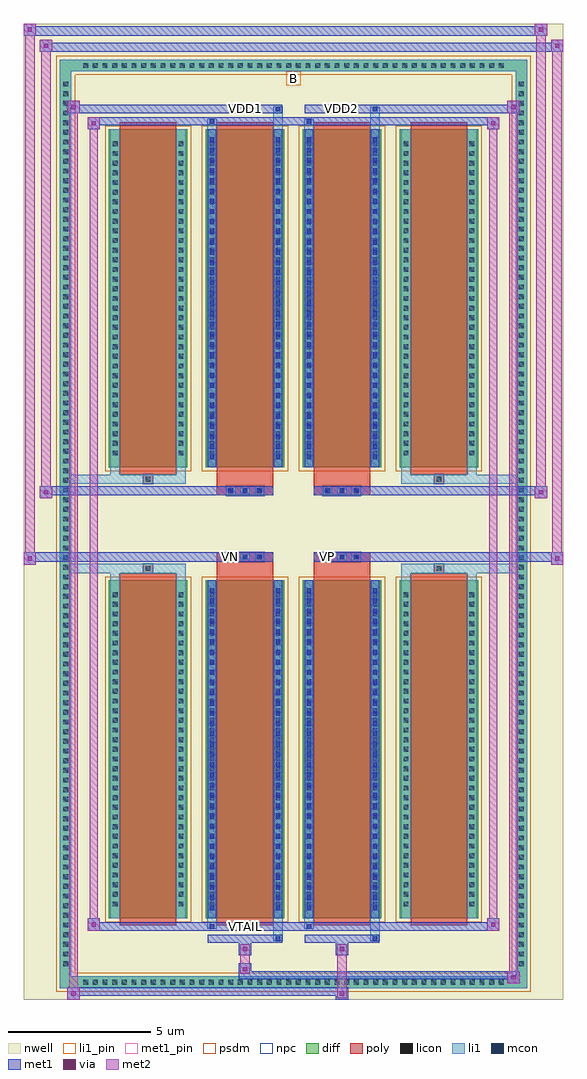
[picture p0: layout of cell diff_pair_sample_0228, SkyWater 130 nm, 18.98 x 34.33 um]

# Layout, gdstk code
import gdstk
lib = gdstk.Library(unit=1e-6, precision=5e-09)
def R(c, l, rs):  # rectangles x0, y0, x1, y1
    for r in rs: c.add(gdstk.rectangle(r[:2], r[2:], *l))
def A(c, l, x, y, w, h, nx, ny, dx, dy):  # array of equal rectangles
    R(c, l, [(x+i*dx, y+j*dy, x+i*dx+w, y+j*dy+h) for i in range(nx) for j in range(ny)])
def P(c, l, *ps):  # polygons
    for p in ps: c.add(gdstk.Polygon(p, *l))
nwell = (64, 20)
diff = (65, 20)
poly = (66, 20)
licon = (66, 44)
li1_pin = (67, 16)
li1 = (67, 20)
mcon = (67, 44)
met1_pin = (68, 16)
met1 = (68, 20)
via = (68, 44)
met2 = (69, 20)
psdm = (94, 20)
npc = (95, 20)

diff_pair_sample_0228 = lib.new_cell('diff_pair_sample_0228')
R(diff_pair_sample_0228, nwell, [(-9.49,-16.73,9.49,17.6), (-6.81,-14.92,-0.01,-0.8), (0.01,-14.92,6.81,-0.8), (-6.81,0.8,-0.01,14.92), (0.01,0.8,6.81,14.92)])
A(diff_pair_sample_0228, diff, -7.515, -16.33, 0.41, 0.41, 44, 2, 0.34, 32.25)
A(diff_pair_sample_0228, diff, -8.22, -15.675, 0.41, 0.41, 1, 92, 0, 0.34)
A(diff_pair_sample_0228, diff, 7.81, -15.675, 0.41, 0.41, 1, 92, 0, 0.34)
A(diff_pair_sample_0228, diff, -6.5, -13.875, 2.77, 11.89, 4, 2, 3.41, 15.86)
R(diff_pair_sample_0228, diff, [(-7.515,-16.33,7.515,-15.92), (-8.22,-15.675,-7.81,15.675), (7.81,-15.675,8.22,15.675), (-7.515,15.92,7.515,16.33)])
P(diff_pair_sample_0228, diff, [(8.22,16.33),(-8.22,16.33),(-8.22,-15.92),(-7.81,-15.92),(-7.81,15.92),(7.81,15.92),(7.81,-15.92),(-7.81,-15.92),(-8.22,-15.92),(-8.22,-16.33),(8.22,-16.33)])
A(diff_pair_sample_0228, poly, -6.11, -14.125, 1.99, 12.39, 4, 2, 3.41, 15.86)
A(diff_pair_sample_0228, poly, -2.37, -1.33, 0.33, 0.33, 3, 2, 0.5, 2.33)
A(diff_pair_sample_0228, poly, 1.04, -1.33, 0.33, 0.33, 3, 2, 0.5, 2.33)
R(diff_pair_sample_0228, poly, [(-5.28,-1.735,-4.95,-1.405), (-5.28,-1.735,-4.95,-1.405), (-2.7,-1.735,-0.71,-1.33), (0.71,-1.735,2.7,-1.33), (4.95,-1.735,5.28,-1.405), (4.95,-1.735,5.28,-1.405), (-2.7,-1.33,-0.71,-1), (0.71,-1.33,2.7,-1), (-2.7,1,-0.71,1.33), (0.71,1,2.7,1.33), (-2.7,1.33,-0.71,1.735), (0.71,1.33,2.7,1.735), (-5.28,1.405,-4.95,1.735), (-5.28,1.405,-4.95,1.735), (4.95,1.405,5.28,1.735), (4.95,1.405,5.28,1.735)])
A(diff_pair_sample_0228, licon, -7.395, -16.21, 0.17, 0.17, 44, 2, 0.34, 32.25)
A(diff_pair_sample_0228, licon, -8.1, -15.555, 0.17, 0.17, 1, 92, 0, 0.34)
A(diff_pair_sample_0228, licon, 7.93, -15.555, 0.17, 0.17, 1, 92, 0, 0.34)
A(diff_pair_sample_0228, licon, -6.36, -13.455, 0.17, 0.17, 1, 33, 0, 0.34)
A(diff_pair_sample_0228, licon, -4.04, -13.455, 0.17, 0.17, 1, 33, 0, 0.34)
A(diff_pair_sample_0228, licon, -2.95, -13.455, 0.17, 0.17, 1, 33, 0, 0.34)
A(diff_pair_sample_0228, licon, -0.63, -13.455, 0.17, 0.17, 1, 33, 0, 0.34)
A(diff_pair_sample_0228, licon, 0.46, -13.455, 0.17, 0.17, 1, 33, 0, 0.34)
A(diff_pair_sample_0228, licon, 2.78, -13.455, 0.17, 0.17, 1, 33, 0, 0.34)
A(diff_pair_sample_0228, licon, 3.87, -13.455, 0.17, 0.17, 1, 33, 0, 0.34)
A(diff_pair_sample_0228, licon, 6.19, -13.455, 0.17, 0.17, 1, 33, 0, 0.34)
A(diff_pair_sample_0228, licon, -2.29, -1.25, 0.17, 0.17, 3, 2, 0.5, 2.33)
A(diff_pair_sample_0228, licon, 1.12, -1.25, 0.17, 0.17, 3, 2, 0.5, 2.33)
A(diff_pair_sample_0228, licon, -6.36, 2.405, 0.17, 0.17, 1, 33, 0, 0.34)
A(diff_pair_sample_0228, licon, -4.04, 2.405, 0.17, 0.17, 1, 33, 0, 0.34)
A(diff_pair_sample_0228, licon, -2.95, 2.405, 0.17, 0.17, 1, 33, 0, 0.34)
A(diff_pair_sample_0228, licon, -0.63, 2.405, 0.17, 0.17, 1, 33, 0, 0.34)
A(diff_pair_sample_0228, licon, 0.46, 2.405, 0.17, 0.17, 1, 33, 0, 0.34)
A(diff_pair_sample_0228, licon, 2.78, 2.405, 0.17, 0.17, 1, 33, 0, 0.34)
A(diff_pair_sample_0228, licon, 3.87, 2.405, 0.17, 0.17, 1, 33, 0, 0.34)
A(diff_pair_sample_0228, licon, 6.19, 2.405, 0.17, 0.17, 1, 33, 0, 0.34)
R(diff_pair_sample_0228, licon, [(-5.2,-1.655,-5.03,-1.485), (5.03,-1.655,5.2,-1.485), (-5.2,1.485,-5.03,1.655), (5.03,1.485,5.2,1.655)])
R(diff_pair_sample_0228, li1_pin, [(-0.25,15.42,0.25,15.92)])
A(diff_pair_sample_0228, li1, -7.475, -16.29, 0.33, 0.33, 44, 2, 0.34, 32.25)
A(diff_pair_sample_0228, li1, -8.18, -15.635, 0.33, 0.33, 1, 92, 0, 0.34)
A(diff_pair_sample_0228, li1, 7.85, -15.635, 0.33, 0.33, 1, 92, 0, 0.34)
A(diff_pair_sample_0228, li1, -2.95, -13.595, 0.17, 0.17, 1, 32, 0, 0.36)
A(diff_pair_sample_0228, li1, -0.63, -13.595, 0.17, 0.17, 1, 32, 0, 0.36)
A(diff_pair_sample_0228, li1, 0.46, -13.595, 0.17, 0.17, 1, 32, 0, 0.36)
A(diff_pair_sample_0228, li1, 2.78, -13.595, 0.17, 0.17, 1, 32, 0, 0.36)
A(diff_pair_sample_0228, li1, -6.44, -13.535, 0.33, 0.33, 1, 33, 0, 0.34)
A(diff_pair_sample_0228, li1, -4.12, -13.535, 0.33, 0.33, 1, 33, 0, 0.34)
A(diff_pair_sample_0228, li1, -3.03, -13.535, 0.33, 0.33, 1, 33, 0, 0.34)
A(diff_pair_sample_0228, li1, -0.71, -13.535, 0.33, 0.33, 1, 33, 0, 0.34)
A(diff_pair_sample_0228, li1, 0.38, -13.535, 0.33, 0.33, 1, 33, 0, 0.34)
A(diff_pair_sample_0228, li1, 2.7, -13.535, 0.33, 0.33, 1, 33, 0, 0.34)
A(diff_pair_sample_0228, li1, 3.79, -13.535, 0.33, 0.33, 1, 33, 0, 0.34)
A(diff_pair_sample_0228, li1, 6.11, -13.535, 0.33, 0.33, 1, 33, 0, 0.34)
A(diff_pair_sample_0228, li1, -2.37, -1.33, 0.33, 0.33, 3, 2, 0.5, 2.33)
A(diff_pair_sample_0228, li1, 1.04, -1.33, 0.33, 0.33, 3, 2, 0.5, 2.33)
A(diff_pair_sample_0228, li1, -2.95, 2.265, 0.17, 0.17, 1, 32, 0, 0.36)
A(diff_pair_sample_0228, li1, -0.63, 2.265, 0.17, 0.17, 1, 32, 0, 0.36)
A(diff_pair_sample_0228, li1, 0.46, 2.265, 0.17, 0.17, 1, 32, 0, 0.36)
A(diff_pair_sample_0228, li1, 2.78, 2.265, 0.17, 0.17, 1, 32, 0, 0.36)
A(diff_pair_sample_0228, li1, -6.44, 2.325, 0.33, 0.33, 1, 33, 0, 0.34)
A(diff_pair_sample_0228, li1, -4.12, 2.325, 0.33, 0.33, 1, 33, 0, 0.34)
A(diff_pair_sample_0228, li1, -3.03, 2.325, 0.33, 0.33, 1, 33, 0, 0.34)
A(diff_pair_sample_0228, li1, -0.71, 2.325, 0.33, 0.33, 1, 33, 0, 0.34)
A(diff_pair_sample_0228, li1, 0.38, 2.325, 0.33, 0.33, 1, 33, 0, 0.34)
A(diff_pair_sample_0228, li1, 2.7, 2.325, 0.33, 0.33, 1, 33, 0, 0.34)
A(diff_pair_sample_0228, li1, 3.79, 2.325, 0.33, 0.33, 1, 33, 0, 0.34)
A(diff_pair_sample_0228, li1, 6.11, 2.325, 0.33, 0.33, 1, 33, 0, 0.34)
R(diff_pair_sample_0228, li1, [(-8.22,-16.33,-7.81,-15.92), (-8.22,-16.33,-7.81,-15.92), (-7.81,-16.33,7.81,-15.92), (7.81,-16.33,8.22,-15.92), (7.81,-16.33,8.22,-15.92), (-8.22,-15.92,-7.81,15.92), (7.81,-15.92,8.22,15.92), (-0.71,-14.68,-0.38,-13.875), (-0.63,-14.68,-0.46,-14.51), (2.7,-14.68,3.03,-13.875), (2.78,-14.68,2.95,-14.51), (-3.03,-14.25,-2.7,-13.875), (-2.95,-14.25,-2.78,-14.08), (0.38,-14.25,0.71,-13.875), (0.46,-14.25,0.63,-14.08), (-6.44,-13.875,-6.11,-1.985), (-4.12,-13.875,-3.79,-1.985), (-3.03,-13.875,-2.7,-1.985), (-0.71,-13.875,-0.38,-1.985), (0.38,-13.875,0.71,-1.985), (2.7,-13.875,3.03,-1.985), (3.79,-13.875,4.12,-1.985), (6.11,-13.875,6.44,-1.985), (-2.95,-13.595,-2.78,-2.265), (-0.63,-13.595,-0.46,-2.265), (0.46,-13.595,0.63,-2.265), (2.78,-13.595,2.95,-2.265), (-6.44,-1.985,-6.11,-1.405), (-4.12,-1.985,-3.79,-1.405), (3.79,-1.985,4.12,-1.405), (6.11,-1.985,6.44,-1.405), (-8.22,-1.735,-5.28,-1.405), (-6.44,-1.735,-5.28,-1.405), (-5.28,-1.735,-4.95,-1.405), (-4.95,-1.735,-3.79,-1.405), (3.79,-1.735,4.95,-1.405), (4.95,-1.735,5.28,-1.405), (4.95,-1.735,8.22,-1.405), (5.28,-1.735,6.44,-1.405), (-8.22,1.405,-5.28,1.735), (-6.44,1.405,-5.28,1.735), (-6.44,1.405,-6.11,1.985), (-5.28,1.405,-4.95,1.735), (-4.95,1.405,-3.79,1.735), (-4.12,1.405,-3.79,1.985), (3.79,1.405,4.95,1.735), (3.79,1.405,4.12,1.985), (4.95,1.405,5.28,1.735), (4.95,1.405,8.22,1.735), (5.28,1.405,6.44,1.735), (6.11,1.405,6.44,1.985), (-6.44,1.985,-6.11,13.875), (-4.12,1.985,-3.79,13.875), (-3.03,1.985,-2.7,13.875), (-0.71,1.985,-0.38,13.875), (0.38,1.985,0.71,13.875), (2.7,1.985,3.03,13.875), (3.79,1.985,4.12,13.875), (6.11,1.985,6.44,13.875), (-2.95,2.265,-2.78,13.595), (-0.63,2.265,-0.46,13.595), (0.46,2.265,0.63,13.595), (2.78,2.265,2.95,13.595), (-3.03,13.875,-2.7,14.25), (-0.71,13.875,-0.38,14.68), (0.38,13.875,0.71,14.25), (2.7,13.875,3.03,14.68), (-2.95,14.08,-2.78,14.25), (0.46,14.08,0.63,14.25), (-0.63,14.51,-0.46,14.68), (2.78,14.51,2.95,14.68), (-8.22,15.92,-7.81,16.33), (-8.22,15.92,-7.81,16.33), (-7.81,15.92,7.81,16.33), (7.81,15.92,8.22,16.33), (7.81,15.92,8.22,16.33)])
A(diff_pair_sample_0228, mcon, -2.95, -13.595, 0.17, 0.17, 1, 32, 0, 0.36)
A(diff_pair_sample_0228, mcon, -0.63, -13.595, 0.17, 0.17, 1, 32, 0, 0.36)
A(diff_pair_sample_0228, mcon, 0.46, -13.595, 0.17, 0.17, 1, 32, 0, 0.36)
A(diff_pair_sample_0228, mcon, 2.78, -13.595, 0.17, 0.17, 1, 32, 0, 0.36)
A(diff_pair_sample_0228, mcon, -2.29, -1.25, 0.17, 0.17, 3, 2, 0.5, 2.33)
A(diff_pair_sample_0228, mcon, 1.12, -1.25, 0.17, 0.17, 3, 2, 0.5, 2.33)
A(diff_pair_sample_0228, mcon, -2.95, 2.265, 0.17, 0.17, 1, 32, 0, 0.36)
A(diff_pair_sample_0228, mcon, -0.63, 2.265, 0.17, 0.17, 1, 32, 0, 0.36)
A(diff_pair_sample_0228, mcon, 0.46, 2.265, 0.17, 0.17, 1, 32, 0, 0.36)
A(diff_pair_sample_0228, mcon, 2.78, 2.265, 0.17, 0.17, 1, 32, 0, 0.36)
R(diff_pair_sample_0228, mcon, [(-0.63,-14.68,-0.46,-14.51), (2.78,-14.68,2.95,-14.51), (-2.95,-14.25,-2.78,-14.08), (0.46,-14.25,0.63,-14.08), (-2.95,14.08,-2.78,14.25), (0.46,14.08,0.63,14.25), (-0.63,14.51,-0.46,14.68), (2.78,14.51,2.95,14.68)])
R(diff_pair_sample_0228, met1_pin, [(-1.84,-14.29,-1.57,-14.02), (-2.34,-1.29,-2.07,-1.02), (1.07,-1.29,1.34,-1.02), (-1.84,14.47,-1.57,14.74), (1.57,14.47,1.84,14.74)])
A(diff_pair_sample_0228, met1, -3.01, -13.655, 0.29, 0.29, 1, 32, 0, 0.36)
A(diff_pair_sample_0228, met1, -0.69, -13.655, 0.29, 0.29, 1, 32, 0, 0.36)
A(diff_pair_sample_0228, met1, 0.4, -13.655, 0.29, 0.29, 1, 32, 0, 0.36)
A(diff_pair_sample_0228, met1, 2.72, -13.655, 0.29, 0.29, 1, 32, 0, 0.36)
A(diff_pair_sample_0228, met1, -2.35, -1.31, 0.29, 0.29, 3, 2, 0.5, 2.33)
A(diff_pair_sample_0228, met1, 1.06, -1.31, 0.29, 0.29, 3, 2, 0.5, 2.33)
A(diff_pair_sample_0228, met1, -3.01, 2.205, 0.29, 0.29, 1, 32, 0, 0.36)
A(diff_pair_sample_0228, met1, -0.69, 2.205, 0.29, 0.29, 1, 32, 0, 0.36)
A(diff_pair_sample_0228, met1, 0.4, 2.205, 0.29, 0.29, 1, 32, 0, 0.36)
A(diff_pair_sample_0228, met1, 2.72, 2.205, 0.29, 0.29, 1, 32, 0, 0.36)
R(diff_pair_sample_0228, met1, [(-7.95,-16.73,-7.52,-16.3), (1.49,-16.73,1.92,-16.3), (-7.95,-16.59,1.92,-16.3), (7.52,-16.16,7.95,-15.73), (-1.92,-16.02,7.95,-15.73), (-1.92,-15.88,-1.49,-15.45), (-1.92,-15.17,-1.49,-14.74), (1.49,-15.17,1.92,-14.74), (-3.01,-14.74,-0.4,-14.45), (-0.69,-14.74,-0.4,-14.45), (0.4,-14.74,3.01,-14.45), (2.72,-14.74,3.01,-14.45), (-7.24,-14.31,-6.81,-13.88), (-7.24,-14.31,-3.01,-14.02), (-3.01,-14.31,-2.72,-14.02), (-3.01,-14.31,-0.4,-14.02), (-0.4,-14.31,0.4,-14.02), (0.4,-14.31,0.69,-14.02), (0.4,-14.31,3.01,-14.02), (3.01,-14.31,7.24,-14.02), (6.81,-14.31,7.24,-13.88), (-3.01,-13.875,-2.72,-1.985), (-0.69,-13.875,-0.4,-1.985), (0.4,-13.875,0.69,-1.985), (2.72,-13.875,3.01,-1.985), (-9.49,-1.43,-9.06,-1), (9.06,-1.43,9.49,-1), (-9.49,-1.33,-0.71,-1), (-2.7,-1.33,-0.71,-1), (0.71,-1.33,2.7,-1), (0.71,-1.33,9.49,-1), (-8.92,0.9,-8.49,1.33), (8.49,0.9,8.92,1.33), (-8.92,1,-2.7,1.33), (-2.7,1,-0.71,1.33), (0.71,1,2.7,1.33), (2.7,1,8.92,1.33), (-3.01,1.985,-2.72,13.875), (-0.69,1.985,-0.4,13.875), (0.4,1.985,0.69,13.875), (2.72,1.985,3.01,13.875), (-7.24,13.88,-6.81,14.31), (6.81,13.88,7.24,14.31), (-7.24,14.02,-3.01,14.31), (-3.01,14.02,-2.72,14.31), (-3.01,14.02,-0.4,14.31), (-0.4,14.02,0.4,14.31), (0.4,14.02,0.69,14.31), (0.4,14.02,3.01,14.31), (3.01,14.02,7.24,14.31), (-7.95,14.45,-7.52,14.88), (-7.95,14.45,-3.01,14.74), (-3.01,14.45,-0.4,14.74), (-0.69,14.45,-0.4,14.74), (0.4,14.45,3.01,14.74), (2.72,14.45,3.01,14.74), (3.01,14.45,7.95,14.74), (7.52,14.45,7.95,14.88), (-8.92,16.6,-8.49,17.03), (-8.92,16.6,-6.81,16.93), (-6.81,16.6,6.81,16.93), (6.81,16.6,9.49,16.93), (9.06,16.6,9.49,17.03), (-9.49,17.17,-9.06,17.6), (-9.49,17.17,-6.81,17.5), (-6.81,17.17,6.81,17.5), (6.81,17.17,8.92,17.5), (8.49,17.17,8.92,17.6)])
R(diff_pair_sample_0228, via, [(-7.81,-16.59,-7.66,-16.44), (1.63,-16.59,1.78,-16.44), (7.66,-16.02,7.81,-15.87), (-1.78,-15.74,-1.63,-15.59), (-1.78,-15.03,-1.63,-14.88), (1.63,-15.03,1.78,-14.88), (-7.1,-14.17,-6.95,-14.02), (6.95,-14.17,7.1,-14.02), (-9.35,-1.29,-9.2,-1.14), (9.2,-1.29,9.35,-1.14), (-8.78,1.04,-8.63,1.19), (8.63,1.04,8.78,1.19), (-7.1,14.02,-6.95,14.17), (6.95,14.02,7.1,14.17), (-7.81,14.59,-7.66,14.74), (7.66,14.59,7.81,14.74), (-8.78,16.74,-8.63,16.89), (9.2,16.74,9.35,16.89), (-9.35,17.31,-9.2,17.46), (8.63,17.31,8.78,17.46)])
R(diff_pair_sample_0228, met2, [(-7.95,-16.73,-7.52,-16.3), (-7.88,-16.73,-7.59,14.88), (-7.59,-16.73,-7.52,-16.3), (-7.9,-16.68,-7.57,-16.35), (1.54,-16.68,1.87,-16.35), (1.54,-16.35,1.87,-15.12), (7.52,-16.16,7.95,-15.73), (7.59,-16.16,7.88,14.88), (7.88,-16.16,7.95,-15.73), (7.57,-16.11,7.9,-15.78), (-1.87,-15.83,-1.54,-15.5), (-1.87,-15.5,-1.54,-15.12), (-1.87,-15.12,-1.54,-14.79), (1.54,-15.12,1.87,-14.79), (-7.24,-14.31,-6.81,-13.88), (-7.17,-14.31,-6.88,14.31), (-6.88,-14.31,-6.81,-13.88), (6.81,-14.31,7.24,-13.88), (6.88,-14.31,7.17,14.31), (7.17,-14.31,7.24,-13.88), (-7.19,-14.26,-6.86,-13.93), (6.86,-14.26,7.19,-13.93), (-9.49,-1.43,-9.06,-1), (-9.44,-1.43,-9.11,17.6), (-9.11,-1.43,-9.06,-1), (9.06,-1.43,9.49,-1), (9.11,-1.43,9.44,17.03), (9.44,-1.43,9.49,-1), (-9.44,-1.38,-9.11,-1.05), (9.11,-1.38,9.44,-1.05), (-8.92,0.9,-8.49,1.33), (-8.87,0.9,-8.54,17.03), (-8.54,0.9,-8.49,1.33), (8.49,0.9,8.92,1.33), (8.54,0.9,8.87,17.6), (8.87,0.9,8.92,1.33), (-8.87,0.95,-8.54,1.28), (8.54,0.95,8.87,1.28), (-7.24,13.88,-6.81,14.31), (-6.88,13.88,-6.81,14.31), (6.81,13.88,7.24,14.31), (7.17,13.88,7.24,14.31), (-7.19,13.93,-6.86,14.26), (6.86,13.93,7.19,14.26), (-7.95,14.45,-7.52,14.88), (-7.59,14.45,-7.52,14.88), (7.52,14.45,7.95,14.88), (7.88,14.45,7.95,14.88), (-7.9,14.5,-7.57,14.83), (7.57,14.5,7.9,14.83), (-8.92,16.6,-8.49,17.03), (-8.54,16.6,-8.49,17.03), (9.06,16.6,9.49,17.03), (9.44,16.6,9.49,17.03), (-8.87,16.65,-8.54,16.98), (9.11,16.65,9.44,16.98), (-9.49,17.17,-9.06,17.6), (-9.11,17.17,-9.06,17.6), (8.49,17.17,8.92,17.6), (8.87,17.17,8.92,17.6), (-9.44,17.22,-9.11,17.55), (8.54,17.22,8.87,17.55)])
A(diff_pair_sample_0228, psdm, -6.63, -14.005, 3.03, 12.15, 4, 2, 3.41, 15.86)
P(diff_pair_sample_0228, psdm, [(8.35,16.46),(-8.35,16.46),(-8.35,-15.79),(-7.68,-15.79),(-7.68,15.79),(7.68,15.79),(7.68,-15.79),(-7.68,-15.79),(-8.35,-15.79),(-8.35,-16.46),(8.35,-16.46)])
A(diff_pair_sample_0228, npc, -2.39, -1.35, 0.37, 0.37, 3, 2, 0.5, 2.33)
A(diff_pair_sample_0228, npc, 1.02, -1.35, 0.37, 0.37, 3, 2, 0.5, 2.33)
R(diff_pair_sample_0228, npc, [(-5.3,-1.755,-4.93,-1.385), (4.93,-1.755,5.3,-1.385), (-2.39,-1.35,-1.52,-0.98), (-2.39,-1.35,-1.52,-0.98), (-1.89,-1.35,-1.02,-0.98), (-1.89,-1.35,-1.02,-0.98), (1.02,-1.35,1.89,-0.98), (1.02,-1.35,1.89,-0.98), (1.52,-1.35,2.39,-0.98), (1.52,-1.35,2.39,-0.98), (-2.39,0.98,-1.52,1.35), (-2.39,0.98,-1.52,1.35), (-1.89,0.98,-1.02,1.35), (-1.89,0.98,-1.02,1.35), (1.02,0.98,1.89,1.35), (1.02,0.98,1.89,1.35), (1.52,0.98,2.39,1.35), (1.52,0.98,2.39,1.35), (-5.3,1.385,-4.93,1.755), (4.93,1.385,5.3,1.755)])
diff_pair_sample_0228.add(gdstk.Label('VTAIL', (-1.705,-14.155), layer=68, texttype=5))
diff_pair_sample_0228.add(gdstk.Label('VN', (-2.205,-1.155), layer=68, texttype=5))
diff_pair_sample_0228.add(gdstk.Label('VP', (1.205,-1.155), layer=68, texttype=5))
diff_pair_sample_0228.add(gdstk.Label('B', (0,15.67), layer=67, texttype=5))
diff_pair_sample_0228.add(gdstk.Label('VDD2', (1.705,14.605), layer=68, texttype=5))
diff_pair_sample_0228.add(gdstk.Label('VDD1', (-1.705,14.605), layer=68, texttype=5))

lib.write_gds('diff_pair_sample_0228.gds')
